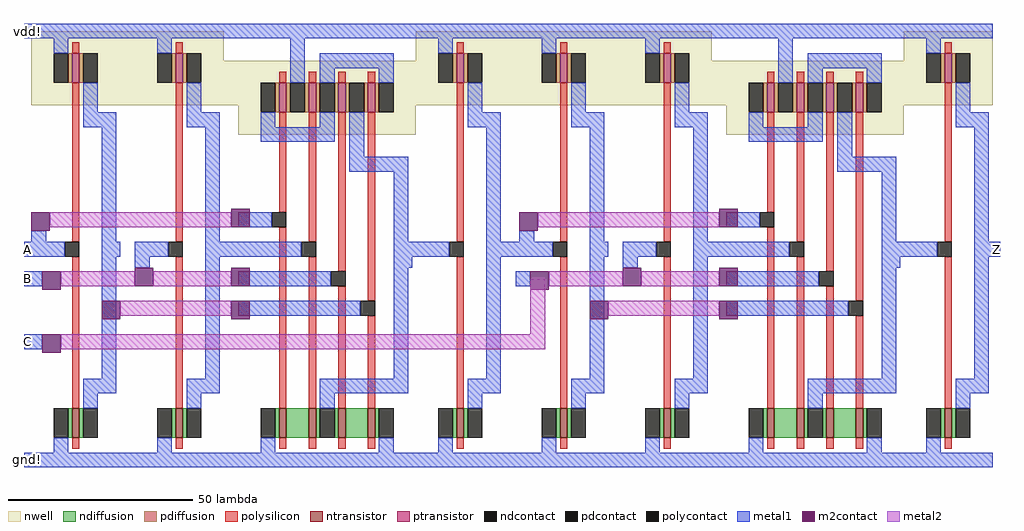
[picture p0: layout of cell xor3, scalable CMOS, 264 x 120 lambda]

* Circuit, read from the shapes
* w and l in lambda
.subckt xor3 A B C Z gnd! vdd!
M1 xor2_0/aoi22_0/D A gnd! VSUBS nfet w=8 l=2
M2 xor2_0/aoi22_0/B B gnd! VSUBS nfet w=8 l=2
M3 n1 A gnd! VSUBS nfet w=8 l=2
M4 xor2_0/inv_2/A xor2_0/aoi22_0/B n1 VSUBS nfet w=8 l=2
M5 n2 B xor2_0/inv_2/A VSUBS nfet w=8 l=2
M6 gnd! xor2_0/aoi22_0/D n2 VSUBS nfet w=8 l=2
M7 xor2_1/A xor2_0/inv_2/A gnd! VSUBS nfet w=8 l=2
M8 xor2_1/aoi22_0/D xor2_1/A gnd! VSUBS nfet w=8 l=2
M9 xor2_1/aoi22_0/B C gnd! VSUBS nfet w=8 l=2
M10 n3 xor2_1/A gnd! VSUBS nfet w=8 l=2
M11 xor2_1/inv_2/A xor2_1/aoi22_0/B n3 VSUBS nfet w=8 l=2
M12 n4 C xor2_1/inv_2/A VSUBS nfet w=8 l=2
M13 gnd! xor2_1/aoi22_0/D n4 VSUBS nfet w=8 l=2
M14 Z xor2_1/inv_2/A gnd! VSUBS nfet w=8 l=2
M15 xor2_0/aoi22_0/D A vdd! n5 pfet w=8 l=2
M16 xor2_0/aoi22_0/B B vdd! n5 pfet w=8 l=2
M17 vdd! A n6 n5 pfet w=8 l=2
M18 n6 xor2_0/aoi22_0/B vdd! n5 pfet w=8 l=2
M19 xor2_0/inv_2/A B n6 n5 pfet w=8 l=2
M20 n6 xor2_0/aoi22_0/D xor2_0/inv_2/A n5 pfet w=8 l=2
M21 xor2_1/A xor2_0/inv_2/A vdd! n5 pfet w=8 l=2
M22 xor2_1/aoi22_0/D xor2_1/A vdd! n5 pfet w=8 l=2
M23 xor2_1/aoi22_0/B C vdd! n5 pfet w=8 l=2
M24 vdd! xor2_1/A n7 n5 pfet w=8 l=2
M25 n7 xor2_1/aoi22_0/B vdd! n5 pfet w=8 l=2
M26 xor2_1/inv_2/A C n7 n5 pfet w=8 l=2
M27 n7 xor2_1/aoi22_0/D xor2_1/inv_2/A n5 pfet w=8 l=2
M28 Z xor2_1/inv_2/A vdd! n5 pfet w=8 l=2
.ends

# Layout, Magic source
magic
tech scmos
<< nwell >>
rect 128 98 135 118
<< metal1 >>
rect -1 116 0 120
rect 128 116 133 120
rect -1 57 0 61
rect 129 57 134 61
rect 262 57 263 61
rect -1 49 0 53
rect -1 32 4 36
rect -1 0 0 4
rect 129 0 134 4
<< m2contact >>
rect 4 31 9 36
<< metal2 >>
rect 136 36 140 51
rect 9 32 140 36
use xor2  xor2_1
transform 1 0 133 0 1 0
box -1 0 129 120
use xor2  xor2_0
transform 1 0 1 0 1 0
box -1 0 129 120
<< labels >>
rlabel metal1 0 32 0 36 3 C
rlabel metal1 0 57 0 61 3 A
rlabel metal1 0 49 0 53 3 B
rlabel metal1 0 0 0 4 2 gnd!
rlabel metal1 0 116 0 120 4 vdd!
rlabel metal1 262 57 262 61 7 Z
<< end >>

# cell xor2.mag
magic
tech scmos
<< nwell >>
rect 24 98 30 118
rect 52 98 58 110
<< metal1 >>
rect -1 116 0 120
rect 24 116 28 120
rect 52 116 56 120
rect 0 61 4 64
rect -1 57 0 61
rect 28 54 32 58
rect 52 57 56 61
rect 102 57 106 61
rect 128 57 129 61
rect -1 49 3 53
rect -1 0 0 4
rect 24 0 28 4
rect 52 0 56 4
rect 103 0 107 4
<< m2contact >>
rect 0 64 5 69
rect 54 65 59 70
rect 3 48 8 53
rect 28 49 33 54
rect 54 49 59 54
rect 19 40 24 45
rect 54 40 59 45
<< metal2 >>
rect 5 65 54 69
rect 8 49 28 53
rect 33 49 54 53
rect 24 41 54 45
use inv  inv_2
transform 1 0 110 0 1 0
box -6 0 18 120
use inv  inv_0
transform 1 0 6 0 1 0
box -6 0 18 120
use inv  inv_1
transform 1 0 34 0 1 0
box -6 0 18 120
use aoi22  aoi22_0
transform 1 0 70 0 1 0
box -14 0 34 120
<< labels >>
rlabel metal1 0 57 0 61 3 A
rlabel metal1 0 0 0 4 2 gnd!
rlabel metal1 0 116 0 120 4 vdd!
rlabel metal1 -1 49 -1 53 3 B
rlabel metal1 128 57 128 61 7 Z
<< end >>

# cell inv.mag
magic
tech scmos
<< nwell >>
rect -6 98 18 118
<< ntransistor >>
rect 5 8 7 16
<< ptransistor >>
rect 5 104 7 112
<< ndiffusion >>
rect 4 8 5 16
rect 7 8 8 16
<< pdiffusion >>
rect 4 104 5 112
rect 7 104 8 112
<< ndcontact >>
rect 0 8 4 16
rect 8 8 12 16
<< pdcontact >>
rect 0 104 4 112
rect 8 104 12 112
<< polysilicon >>
rect 5 112 7 115
rect 5 61 7 104
rect 5 16 7 57
rect 5 5 7 8
<< polycontact >>
rect 3 57 7 61
<< metal1 >>
rect -6 116 18 120
rect 0 112 4 116
rect 8 96 12 104
rect 8 92 17 96
rect 13 61 17 92
rect -6 57 3 61
rect 13 57 18 61
rect 13 24 17 57
rect 8 20 17 24
rect 8 16 12 20
rect 0 4 4 8
rect -6 0 18 4
<< labels >>
rlabel metal1 -6 0 -6 4 2 gnd!
rlabel metal1 -6 116 -6 120 4 vdd!
rlabel metal1 -6 57 -6 61 3 A
rlabel metal1 18 57 18 61 7 Z
<< end >>

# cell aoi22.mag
magic
tech scmos
<< nwell >>
rect -14 90 34 110
<< ntransistor >>
rect -3 8 -1 16
rect 5 8 7 16
rect 13 8 15 16
rect 21 8 23 16
<< ptransistor >>
rect -3 96 -1 104
rect 5 96 7 104
rect 13 96 15 104
rect 21 96 23 104
<< ndiffusion >>
rect -4 8 -3 16
rect -1 8 5 16
rect 7 8 8 16
rect 12 8 13 16
rect 15 8 21 16
rect 23 8 24 16
<< pdiffusion >>
rect -4 96 -3 104
rect -1 96 0 104
rect 4 96 5 104
rect 7 96 8 104
rect 12 96 13 104
rect 15 96 16 104
rect 20 96 21 104
rect 23 96 24 104
<< ndcontact >>
rect -8 8 -4 16
rect 8 8 12 16
rect 24 8 28 16
<< pdcontact >>
rect -8 96 -4 104
rect 0 96 4 104
rect 8 96 12 104
rect 16 96 20 104
rect 24 96 28 104
<< polysilicon >>
rect -3 104 -1 107
rect 5 104 7 107
rect 13 104 15 107
rect 21 104 23 107
rect -3 69 -1 96
rect -3 16 -1 65
rect 5 61 7 96
rect 5 16 7 57
rect 13 53 15 96
rect 13 16 15 49
rect 21 45 23 96
rect 21 16 23 41
rect -3 5 -1 8
rect 5 5 7 8
rect 13 5 15 8
rect 21 5 23 8
<< polycontact >>
rect -5 65 -1 69
rect 3 57 7 61
rect 11 49 15 53
rect 19 41 23 45
<< metal1 >>
rect -14 116 34 120
rect 0 104 4 116
rect 8 108 28 112
rect 8 104 12 108
rect 24 104 28 108
rect -8 92 -4 96
rect 8 92 12 96
rect -8 88 12 92
rect 16 84 20 96
rect 16 80 32 84
rect -14 65 -5 69
rect -14 57 3 61
rect 28 58 32 80
rect 28 54 33 58
rect -14 49 11 53
rect -14 41 19 45
rect 28 24 32 54
rect 8 20 32 24
rect 8 16 12 20
rect -8 4 -4 8
rect 24 4 28 8
rect -14 0 33 4
<< labels >>
rlabel metal1 -14 0 -14 4 2 gnd!
rlabel metal1 -14 41 -14 45 3 D
rlabel metal1 -14 49 -14 53 3 C
rlabel metal1 -14 57 -14 61 3 B
rlabel metal1 -14 65 -14 69 3 A
rlabel metal1 33 54 33 58 7 Z
rlabel metal1 -14 116 -14 120 4 vdd!
<< end >>
